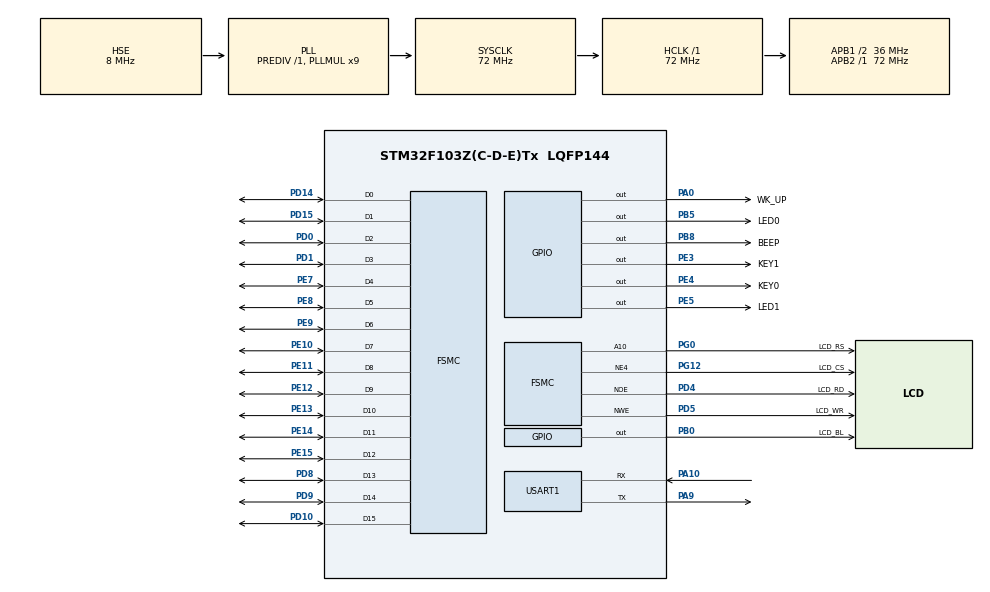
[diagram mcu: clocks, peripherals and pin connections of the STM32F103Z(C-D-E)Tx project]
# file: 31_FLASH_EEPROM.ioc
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FSMC.AddressSetupTime1=0
FSMC.BusTurnAroundDuration1=15
FSMC.DataSetupTime1=15
FSMC.ExtendedAddressSetupTime1=0
FSMC.ExtendedDataSetupTime1=1
FSMC.ExtendedMode1=FSMC_EXTENDED_MODE_ENABLE
Mcu.Family=STM32F1
Mcu.Name=STM32F103Z(C-D-E)Tx
Mcu.Package=LQFP144
NVIC.PriorityGroup=NVIC_PRIORITYGROUP_2
NVIC.TIM4_IRQn=true\:0\:0\:false\:false\:true\:true\:true\:true
NVIC.USART1_IRQn=true\:2\:2\:true\:false\:true\:true\:true\:true
OSC_IN.Mode=HSE-External-Oscillator
OSC_IN.Signal=RCC_OSC_IN
OSC_OUT.Mode=HSE-External-Oscillator
OSC_OUT.Signal=RCC_OSC_OUT
PA0-WKUP.GPIO_Label=WK_UP
PA0-WKUP.GPIO_PuPd=GPIO_PULLDOWN
PA0-WKUP.GPIO_Speed=GPIO_SPEED_FREQ_HIGH
PA0-WKUP.PinState=GPIO_PIN_RESET
PA0-WKUP.Signal=GPIO_Output
PA10.Mode=Asynchronous
PA10.Signal=USART1_RX
PA13.Mode=Serial_Wire
PA13.Signal=SYS_JTMS-SWDIO
PA14.Mode=Serial_Wire
PA14.Signal=SYS_JTCK-SWCLK
PA9.Mode=Asynchronous
PA9.Signal=USART1_TX
PB0.GPIO_Label=LCD_BL
PB0.GPIO_PuPd=GPIO_PULLUP
PB0.GPIO_Speed=GPIO_SPEED_FREQ_HIGH
PB0.PinState=GPIO_PIN_SET
PB0.Signal=GPIO_Output
PB5.GPIO_Label=LED0
PB5.GPIO_PuPd=GPIO_PULLUP
PB5.GPIO_Speed=GPIO_SPEED_FREQ_HIGH
PB5.PinState=GPIO_PIN_SET
PB5.Signal=GPIO_Output
PB8.GPIO_Label=BEEP
PB8.GPIO_ModeDefaultOutputPP=GPIO_MODE_OUTPUT_PP
PB8.GPIO_PuPd=GPIO_PULLDOWN
PB8.GPIO_Speed=GPIO_SPEED_FREQ_HIGH
PB8.PinState=GPIO_PIN_RESET
PB8.Signal=GPIO_Output
PC14-OSC32_IN.Mode=LSE-External-Oscillator
PC14-OSC32_IN.Signal=RCC_OSC32_IN
PC15-OSC32_OUT.Mode=LSE-External-Oscillator
PC15-OSC32_OUT.Signal=RCC_OSC32_OUT
PD0.Signal=FSMC_D2_DA2
PD1.Signal=FSMC_D3_DA3
PD10.Signal=FSMC_D15_DA15
PD14.Signal=FSMC_D0_DA0
PD15.Signal=FSMC_D1_DA1
PD4.GPIO_Label=LCD_RD
PD4.Signal=FSMC_NOE
PD5.GPIO_Label=LCD_WR
PD5.Signal=FSMC_NWE
PD8.Signal=FSMC_D13_DA13
PD9.Signal=FSMC_D14_DA14
PE10.Signal=FSMC_D7_DA7
PE11.Signal=FSMC_D8_DA8
PE12.Signal=FSMC_D9_DA9
PE13.Signal=FSMC_D10_DA10
PE14.Signal=FSMC_D11_DA11
PE15.Signal=FSMC_D12_DA12
PE3.GPIO_Label=KEY1
PE3.GPIO_PuPd=GPIO_PULLUP
PE3.GPIO_Speed=GPIO_SPEED_FREQ_HIGH
PE3.PinState=GPIO_PIN_SET
PE3.Signal=GPIO_Output
PE4.GPIO_Label=KEY0
PE4.GPIO_PuPd=GPIO_PULLUP
PE4.GPIO_Speed=GPIO_SPEED_FREQ_HIGH
PE4.PinState=GPIO_PIN_SET
PE4.Signal=GPIO_Output
PE5.GPIO_Label=LED1
PE5.GPIO_PuPd=GPIO_PULLUP
PE5.GPIO_Speed=GPIO_SPEED_FREQ_HIGH
PE5.PinState=GPIO_PIN_SET
PE5.Signal=GPIO_Output
PE7.Signal=FSMC_D4_DA4
PE8.Signal=FSMC_D5_DA5
PE9.Signal=FSMC_D6_DA6
PG0.GPIO_Label=LCD_RS
PG0.Signal=FSMC_A10
PG12.GPIO_Label=LCD_CS
PG12.Mode=NorPsramChipSelect4_1
PG12.Signal=FSMC_NE4
ProjectManager.HeapSize=0x200
ProjectManager.StackSize=0x400
ProjectManager.TargetToolchain=STM32CubeIDE
RCC.AHBFreq_Value=72000000
RCC.APB1CLKDivider=RCC_HCLK_DIV2
RCC.APB1Freq_Value=36000000
RCC.APB1TimFreq_Value=72000000
RCC.APB2Freq_Value=72000000
RCC.APB2TimFreq_Value=72000000
RCC.HCLKFreq_Value=72000000
RCC.PLLMUL=RCC_PLL_MUL9
RCC.PLLSourceVirtual=RCC_PLLSOURCE_HSE
RCC.SYSCLKFreq_VALUE=72000000
RCC.SYSCLKSource=RCC_SYSCLKSOURCE_PLLCLK
RCC.USBFreq_Value=72000000
SH.FSMC_A10.0=FSMC_A10,A10_1
SH.FSMC_D0_DA0.0=FSMC_D0,16b-d1
SH.FSMC_D10_DA10.0=FSMC_D10,16b-d1
SH.FSMC_D11_DA11.0=FSMC_D11,16b-d1
SH.FSMC_D12_DA12.0=FSMC_D12,16b-d1
SH.FSMC_D13_DA13.0=FSMC_D13,16b-d1
SH.FSMC_D14_DA14.0=FSMC_D14,16b-d1
SH.FSMC_D15_DA15.0=FSMC_D15,16b-d1
SH.FSMC_D1_DA1.0=FSMC_D1,16b-d1
SH.FSMC_D2_DA2.0=FSMC_D2,16b-d1
SH.FSMC_D3_DA3.0=FSMC_D3,16b-d1
SH.FSMC_D4_DA4.0=FSMC_D4,16b-d1
SH.FSMC_D5_DA5.0=FSMC_D5,16b-d1
SH.FSMC_D6_DA6.0=FSMC_D6,16b-d1
SH.FSMC_D7_DA7.0=FSMC_D7,16b-d1
SH.FSMC_D8_DA8.0=FSMC_D8,16b-d1
SH.FSMC_D9_DA9.0=FSMC_D9,16b-d1
SH.FSMC_NOE.0=FSMC_NOE,Lcd1
SH.FSMC_NWE.0=FSMC_NWE,Lcd1
TIM4.AutoReloadPreload=TIM_AUTORELOAD_PRELOAD_ENABLE
TIM4.Period=1000 - 1
TIM4.Prescaler=720 - 1
USART1.VirtualMode=VM_ASYNC
VP_TIM4_VS_ClockSourceINT.Mode=Internal
board=custom

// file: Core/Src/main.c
/* USER CODE BEGIN Header */

/* USER CODE END Header */
#include "main.h"
#include "tim.h"
#include "usart.h"
#include "gpio.h"
#include "fsmc.h"

/* USER CODE BEGIN Includes */
#include "../../BSP/LED/led.h"
#include "../../BSP/KEY/key.h"
#include "../../BSP/LCD/lcd.h"
#include "../../BSP/STMFLASH/stmflash.h"
#include "../../SYSTEM/delay/delay.h"
/* USER CODE END Includes */

/* USER CODE BEGIN PTD */
/* 要写入到STM32 FLASH的字符串数组 */
const uint8_t g_text_buf[] = {"STM32 FLASH TEST"};

#define TEXT_LENTH sizeof(g_text_buf) /* 数组长度 */

/*SIZE表示半字长(2字节), 大小必须是2的整数倍, 如果不是的话, 强制对齐到2的整数倍 */
#define SIZE TEXT_LENTH / 2 + ((TEXT_LENTH % 2) ? 1 : 0)

#define FLASH_SAVE_ADDR 0X08070000 /* 设置FLASH 保存地址(必须为偶数，且其值要大于本代码所占用FLASH的大小 + 0X08000000) */

/* USER CODE END PTD */

void SystemClock_Config(void);

int main(void)
{
  /* USER CODE BEGIN 1 */
    uint8_t key = 0;
    uint8_t i = 0;
    uint8_t datatemp[SIZE];
  /* USER CODE END 1 */

  /* MCU Configuration--------------------------------------------------------*/

  /* Reset of all peripherals, Initializes the Flash interface and the Systick. */
  HAL_Init();

  /* Configure the system clock */
  SystemClock_Config();

  /* USER CODE BEGIN SysInit */
  delay_init(72);						   	/* 初始化延时函数 */
  /* USER CODE END SysInit */

  /* Initialize all configured peripherals */
  MX_GPIO_Init();
  MX_FSMC_Init();
  MX_USART1_UART_Init();
  MX_TIM4_Init();
  /* USER CODE BEGIN 2 */
  lcd_init();                         		/* 初始化LCD */
  lcd_show_string(30,  50, 200, 16, 16, "STM32", RED);
  lcd_show_string(30,  70, 200, 16, 16, "FLASH EEPROM TEST", RED);
  lcd_show_string(30,  90, 200, 16, 16, "ATOM@ALIENTEK", RED);
  lcd_show_string(30, 110, 200, 16, 16, "KEY1:Write  KEY0:Read", RED);
  /* USER CODE END 2 */

  /* Infinite loop */
  /* USER CODE BEGIN WHILE */
  while (1)
  {
	  key = key_scan(0);

	  if (key == KEY1_PRES) /* KEY1按下,写入STM32 FLASH */
	  {
		  lcd_fill(0, 150, 239, 319, WHITE); /* 清除半屏 */
		  lcd_show_string(30, 150, 200, 16, 16, "Start Write FLASH....", RED);
		  stmflash_write(FLASH_SAVE_ADDR, (uint16_t *)g_text_buf, SIZE);
		  lcd_show_string(30, 150, 200, 16, 16, "FLASH Write Finished!", RED); /* 提示传送完成 */
	  }

	  if (key == KEY0_PRES) /* KEY0按下,读取字符串并显示 */
	  {
		  lcd_show_string(30, 150, 200, 16, 16, "Start Read FLASH.... ", RED);
		  stmflash_read(FLASH_SAVE_ADDR, (uint16_t *)datatemp, SIZE);
		  lcd_show_string(30, 150, 200, 16, 16, "The Data Readed Is:  ", RED); /* 提示传送完成 */
		  lcd_show_string(30, 170, 200, 16, 16, (char *)datatemp, BLUE);       /* 显示读到的字符串 */
	  }

	  i++;
	  delay_ms(10);

	  if (i % 20 == 0)
	  {
		  LED0_TOGGLE(); /* 提示系统正在运行 */
		  i = 0;
	  }

    /* USER CODE END WHILE */

  }
}

void SystemClock_Config(void)
{
  RCC_OscInitTypeDef RCC_OscInitStruct = {0};
  RCC_ClkInitTypeDef RCC_ClkInitStruct = {0};

  /** Initializes the RCC Oscillators according to the specified parameters
  * in the RCC_OscInitTypeDef structure.
  */
  RCC_OscInitStruct.OscillatorType = RCC_OSCILLATORTYPE_HSE;
  RCC_OscInitStruct.HSEState = RCC_HSE_ON;
  RCC_OscInitStruct.HSEPredivValue = RCC_HSE_PREDIV_DIV1;
  RCC_OscInitStruct.HSIState = RCC_HSI_ON;
  RCC_OscInitStruct.PLL.PLLState = RCC_PLL_ON;
  RCC_OscInitStruct.PLL.PLLSource = RCC_PLLSOURCE_HSE;
  RCC_OscInitStruct.PLL.PLLMUL = RCC_PLL_MUL9;
  if (HAL_RCC_OscConfig(&RCC_OscInitStruct) != HAL_OK)
  {
    Error_Handler();
  }

  /** Initializes the CPU, AHB and APB buses clocks
  */
  RCC_ClkInitStruct.ClockType = RCC_CLOCKTYPE_HCLK|RCC_CLOCKTYPE_SYSCLK
                              |RCC_CLOCKTYPE_PCLK1|RCC_CLOCKTYPE_PCLK2;
  RCC_ClkInitStruct.SYSCLKSource = RCC_SYSCLKSOURCE_PLLCLK;
  RCC_ClkInitStruct.AHBCLKDivider = RCC_SYSCLK_DIV1;
  RCC_ClkInitStruct.APB1CLKDivider = RCC_HCLK_DIV2;
  RCC_ClkInitStruct.APB2CLKDivider = RCC_HCLK_DIV1;

  if (HAL_RCC_ClockConfig(&RCC_ClkInitStruct, FLASH_LATENCY_2) != HAL_OK)
  {
    Error_Handler();
  }
}

void Error_Handler(void)
{
  __disable_irq();
  while (1)
  {
  }
}
